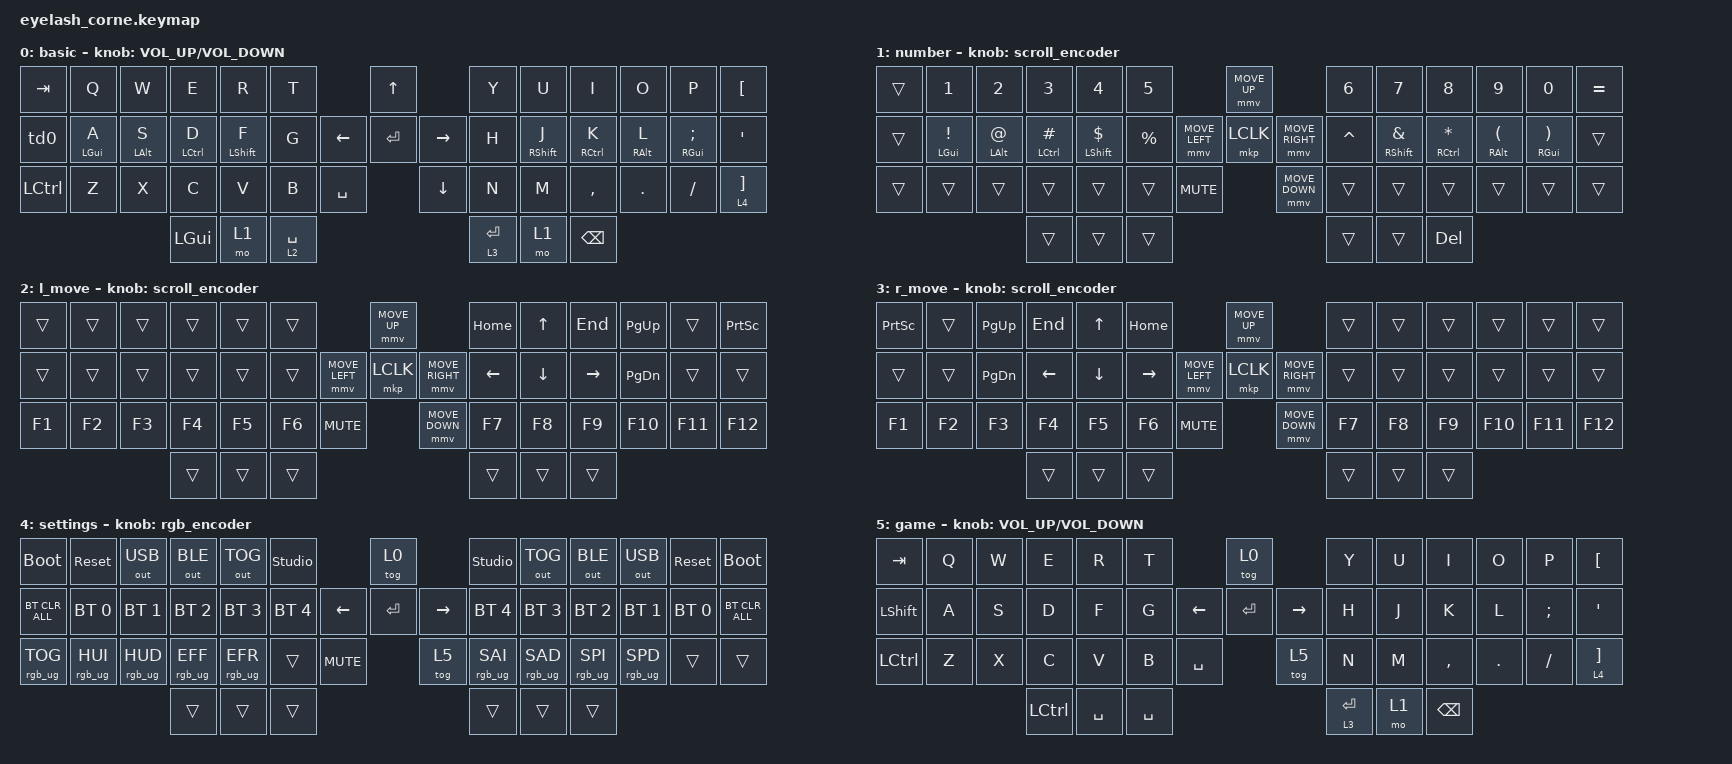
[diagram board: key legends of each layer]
#define ZMK_POINTING_DEFAULT_MOVE_VAL 1200  // 600
#define ZMK_POINTING_DEFAULT_SCRL_VAL 25   // 10

#include <input/processors.dtsi>
#include <zephyr/dt-bindings/input/input-event-codes.h>
#include <behaviors.dtsi>
#include <dt-bindings/zmk/bt.h>
#include <dt-bindings/zmk/ext_power.h>
#include <dt-bindings/zmk/keys.h>
#include <dt-bindings/zmk/outputs.h>
#include <dt-bindings/zmk/pointing.h>
#include <dt-bindings/zmk/rgb.h>
#include <dt-bindings/zmk/mouse.h>

&mmv_input_listener { input-processors = <&zip_xy_scaler 2 1>; };
&msc_input_listener { input-processors = <&zip_scroll_scaler 2 1>; };

&msc {
    acceleration-exponent = <1>;      // 0
    time-to-max-speed-ms = <100>;       // 300
    delay-ms = <0>;                   // 0
};

&mmv {
    time-to-max-speed-ms = <500>;
    acceleration-exponent = <1>;
    trigger-period-ms = <16>;
};

// дока по ключам https://zmk.dev/docs/keymaps/list-of-keycodes
/ {

    behaviors {

        td0: shift_to_caps {
            display-name = "Shift/Caps";
            compatible = "zmk,behavior-tap-dance";
            #binding-cells = <0>;
            tapping-term-ms = <50>;
            bindings = <&kp LEFT_SHIFT>, <&kp CAPS>;
        };

        hml: home_row_mod_left {
            display-name = "row mode";
            compatible = "zmk,behavior-hold-tap";
            #binding-cells = <2>;
            flavor = "balanced";
            require-prior-idle-ms = <150>;
            tapping-term-ms = <280>;
            quick-tap-ms = <175>;
            bindings = <&kp>, <&kp>;
            hold-trigger-key-positions = <23 24 25 26>;
            hold-trigger-on-release;
        };

        hmr: home_row_mod_right {
            display-name = "row mode";
            compatible = "zmk,behavior-hold-tap";
            #binding-cells = <2>;
            flavor = "balanced";
            require-prior-idle-ms = <150>;
            tapping-term-ms = <280>;
            quick-tap-ms = <175>;
            bindings = <&kp>, <&kp>;
            hold-trigger-key-positions = <14 15 16 17>;
            hold-trigger-on-release;
        };

    };

    combos {
        // позиции ключей считаются слева-на-право и сверху-вниз
        // | 0  |   | 1  |   | 2  |   | 3  |   | 4  |   | 5  |                 | 6|       | 7  |   | 8  |   | 9  |   | 10 |   | 11 |   | 12 | 
        // | 13 |   | 14 |   | 15 |   | 16 |   | 17 |   | 18 |            |19| |20| |21|  | 22 |   | 23 |   | 24 |   | 25 |   | 26 |   | 27 | 
        // | 28 |   | 29 |   | 30 |   | 31 |   | 32 |   | 33 |  |34|           |35|       | 36 |   | 37 |   | 38 |   | 39 |   | 40 |   | 41 | 
        //                            | 42 |   | 43 |   | 44 |                            | 45 |   | 46 |   | 47 |

        compatible = "zmk,combos";

        // Левая

        EscKey {
            bindings = <&kp ESC>;
            key-positions = <0 13>;
            timeout-ms = <100>;
        };

        TildaSign {
            bindings = <&kp TILDE>;
            key-positions = <12 27>;
            timeout-ms = <20>;
        };

        GraveSign {
            bindings = <&kp GRAVE>;
            key-positions = <27 41>;
            timeout-ms = <20>;
        };

        PlusSign {
            bindings = <&kp PLUS>;
            key-positions = <2 3>;
            timeout-ms = <20>;
        };

        MinusSign {
            bindings = <&kp MINUS>;
            key-positions = <3 4>;
            timeout-ms = <20>;
        };

        ParaLeft {
            bindings = <&kp LPAR>;
            key-positions = <4 5>;
            timeout-ms = <20>;
        };

        DoubleQuote {
            bindings = <&kp DQT>;
            key-positions = <16 17>;
            timeout-ms = <20>;
        };

        BracketLeft {
            bindings = <&kp LBKT>;
            key-positions = <17 18>;
            timeout-ms = <20>;
        };

        BraceLeft {
            bindings = <&kp LBRC>;
            key-positions = <32 33>;
            timeout-ms = <20>;
        };


        // Правая

        ParaRight {
            bindings = <&kp RPAR>;
            key-positions = <7 8>;
            timeout-ms = <20>;
        };

        UnderscoreSign {
            bindings = <&kp UNDER>;
            key-positions = <8 9>;
            timeout-ms = <20>;
        };

        PipeSign {
            bindings = <&kp PIPE>;
            key-positions = <9 10>;
            timeout-ms = <20>;
        };

        BracketRight {
            bindings = <&kp RBKT>;
            key-positions = <22 23>;
            timeout-ms = <20>;
        };

        SingleQuote {
            bindings = <&kp SQT>;
            key-positions = <23 24>;
            timeout-ms = <20>;
        };

        BraceRight {
            bindings = <&kp RBRC>;
            key-positions = <36 37>;
            timeout-ms = <20>;
        };
    };

    rgb_encoder: rgb_encoder {
        compatible = "zmk,behavior-sensor-rotate";
        #sensor-binding-cells = <0>;
        bindings = <&rgb_ug RGB_BRI>, <&rgb_ug RGB_BRD>;
    };

    scroll_encoder: scroll_encoder {
        compatible = "zmk,behavior-sensor-rotate";
        #sensor-binding-cells = <0>;
        bindings = <&msc SCRL_DOWN>, <&msc SCRL_UP>;
        tap-ms = <100>;
    };

    keymap {
        compatible = "zmk,keymap";

        // Layer 0
        default_layer {
            display-name = "basic";
            bindings = <
&kp TAB      &kp Q        &kp W        &kp E         &kp R         &kp T                              &kp UP                &kp Y        &kp U         &kp I         &kp O        &kp P           &kp LBKT
&td0         &hml LGUI A  &hml LALT S  &hml LCTRL D  &hml LSHFT F  &kp G                    &kp LEFT  &kp ENTER  &kp RIGHT  &kp H        &hmr RSHFT J  &hmr RCTRL K  &hmr RALT L  &hmr RGUI SEMI  &kp SQT
&kp LCTRL    &kp Z        &kp X        &kp C         &kp V         &kp B       &kp SPACE              &kp DOWN              &kp N        &kp M         &kp COMMA     &kp DOT      &kp FSLH        &lt 4 RBKT
                                       &kp LGUI      &mo 1         &lt 2 SPACE                                              &lt 3 ENTER  &mo 1         &kp BSPC
            >;
            sensor-bindings = <&inc_dec_kp C_VOLUME_UP C_VOLUME_DOWN>;
        };

        // Layer 1
        number_layer {
            display-name = "number";
            bindings = <
&trans  &kp N1          &kp N2             &kp N3           &kp N4           &kp N5                                         &mmv MOVE_UP                       &kp N6     &kp N7           &kp N8            &kp N9          &kp N0          &kp EQUAL
&trans  &hml LGUI EXCL  &hml LALT AT_SIGN  &hml LCTRL HASH  &hml LSHFT DLLR  &kp PRCNT                      &mmv MOVE_LEFT  &mkp LCLK       &mmv MOVE_RIGHT    &kp CARET  &hmr RSHFT AMPS  &hmr RCTRL ASTRK  &hmr RALT LPAR  &hmr RGUI RPAR  &trans 
&trans  &trans          &trans             &trans           &trans           &trans             &kp C_MUTE                  &mmv MOVE_DOWN                     &trans     &trans           &trans            &trans          &trans          &trans
                                           &trans           &trans           &trans                                                                                       &trans           &trans            &kp DEL 
            >;
            sensor-bindings = <&scroll_encoder>;
        };

        // Layer 2
        left_move_layer {
            display-name = "l_move";
            bindings = <
&trans  &trans  &trans     &trans    &trans    &trans                                  &mmv MOVE_UP                     &kp HOME  &kp UP    &kp END    &kp PG_UP  &trans   &kp PRINTSCREEN
&trans  &trans  &trans     &trans    &trans    &trans                  &mmv MOVE_LEFT  &mkp LCLK       &mmv MOVE_RIGHT  &kp LEFT  &kp DOWN  &kp RIGHT  &kp PG_DN  &trans   &trans
&kp F1  &kp F2  &kp F3     &kp F4    &kp F5    &kp F6     &kp C_MUTE                   &mmv MOVE_DOWN                   &kp F7    &kp F8    &kp F9     &kp F10    &kp F11  &kp F12
                           &trans    &trans    &trans                                                                   &trans    &trans    &trans
            >;
            sensor-bindings = <&scroll_encoder>;
        };

        // Layer 3
        right_move_layer {
            display-name = "r_move";
            bindings = <
&kp PRINTSCREEN  &trans  &kp PG_UP  &kp END   &kp UP    &kp HOME                                &mmv MOVE_UP                     &trans    &trans    &trans     &trans     &trans   &trans
&trans           &trans  &kp PG_DN  &kp LEFT  &kp DOWN  &kp RIGHT               &mmv MOVE_LEFT  &mkp LCLK       &mmv MOVE_RIGHT  &trans    &trans    &trans     &trans     &trans   &trans
&kp F1           &kp F2  &kp F3     &kp F4    &kp F5    &kp F6     &kp C_MUTE                   &mmv MOVE_DOWN                   &kp F7    &kp F8    &kp F9     &kp F10    &kp F11  &kp F12
                                    &trans    &trans    &trans                                                                   &trans    &trans    &trans
            >;
            sensor-bindings = <&scroll_encoder>;
        };

        // Layer 4
        // Дока по подсветке https://zmk.dev/docs/keymaps/behaviors/underglow#rgb-action-defines
        settings_layer {
            display-name = "settings";
            bindings = <
&bootloader      &sys_reset       &out OUT_USB     &out OUT_BLE     &out OUT_TOG     &studio_unlock                         &tog 0                  &studio_unlock   &out OUT_TOG     &out OUT_BLE     &out OUT_USB     &sys_reset    &bootloader
&bt BT_CLR_ALL   &bt BT_SEL 0     &bt BT_SEL 1     &bt BT_SEL 2     &bt BT_SEL 3     &bt BT_SEL 4                 &kp LEFT  &kp ENTER  &kp RIGHT    &bt BT_SEL 4     &bt BT_SEL 3     &bt BT_SEL 2     &bt BT_SEL 1     &bt BT_SEL 0  &bt BT_CLR_ALL
&rgb_ug RGB_TOG  &rgb_ug RGB_HUI  &rgb_ug RGB_HUD  &rgb_ug RGB_EFF  &rgb_ug RGB_EFR  &trans         &kp C_MUTE              &tog 5                  &rgb_ug RGB_SAI  &rgb_ug RGB_SAD  &rgb_ug RGB_SPI  &rgb_ug RGB_SPD  &trans        &trans
                                                   &trans           &trans           &trans                                                         &trans           &trans           &trans
            >;
            sensor-bindings = <&rgb_encoder>;
        };

        // Layer 5
        game_layer {
            display-name = "game";
            bindings = <
&kp TAB         &kp Q        &kp W        &kp E         &kp R         &kp T                              &tog 0                &kp Y        &kp U         &kp I         &kp O        &kp P           &kp LBKT
&kp LEFT_SHIFT  &kp A        &kp S        &kp D         &kp F         &kp G                    &kp LEFT  &kp ENTER  &kp RIGHT  &kp H        &kp J         &kp K         &kp L        &kp SEMI        &kp SQT
&kp LCTRL       &kp Z        &kp X        &kp C         &kp V         &kp B       &kp SPACE              &tog 5                &kp N        &kp M         &kp COMMA     &kp DOT      &kp FSLH        &lt 4 RBKT
                                          &kp LCTRL     &kp SPACE     &kp SPACE                                                &lt 3 ENTER  &mo 1         &kp BSPC
            >;
            sensor-bindings = <&inc_dec_kp C_VOLUME_UP C_VOLUME_DOWN>;
        };
    };
};
